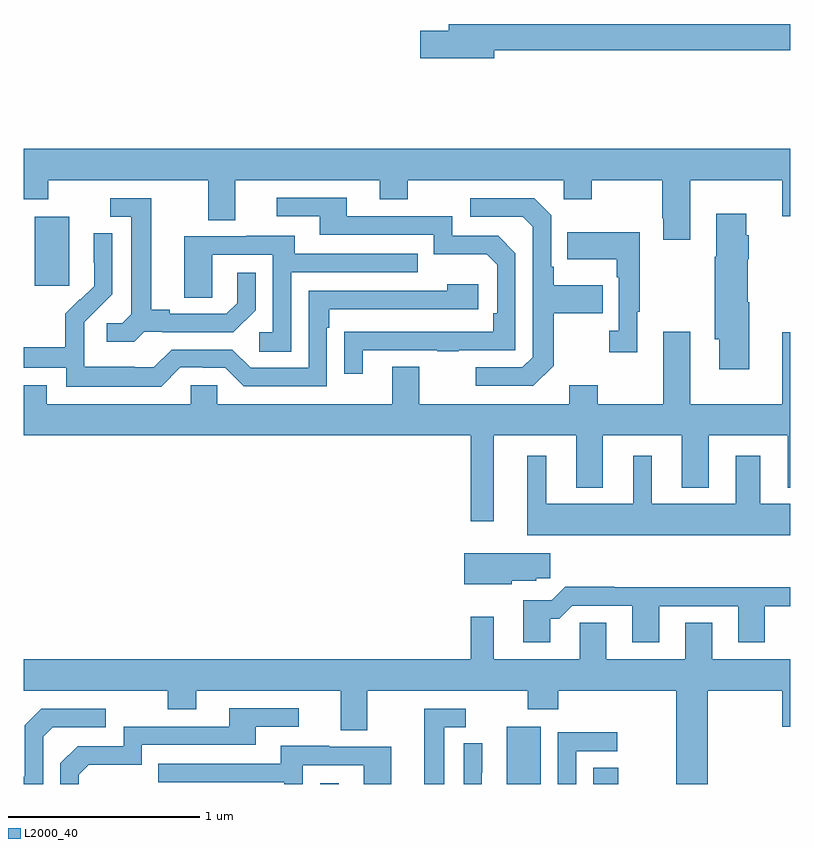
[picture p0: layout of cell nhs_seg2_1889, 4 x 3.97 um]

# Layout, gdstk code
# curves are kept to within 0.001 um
import gdstk
lib = gdstk.Library(unit=1e-6, precision=1e-09)
def R(c, l, rs):  # rectangles x0, y0, x1, y1
    for r in rs: c.add(gdstk.rectangle(r[:2], r[2:], *l))
def P(c, l, *ps):  # polygons
    for p in ps: c.add(gdstk.Polygon(p, *l))
L2000_40 = (2000, 40)

nhs_seg2_1889 = lib.new_cell('nhs_seg2_1889')
R(nhs_seg2_1889, L2000_40, [(210.546,661.8,210.643,661.804), (211.52,661.8,211.699,662.098), (211.973,661.8,212.104,661.886), (209.057,664.401,209.236,664.762)])
P(nhs_seg2_1889, L2000_40, [(211.456,665.632),(213,665.632),(213,665.768),(211.217,665.768),(211.217,665.732),(211.068,665.732),(211.068,665.59),(211.456,665.59)],
  [(209,664.853),(209.127,664.853),(209.127,664.952),(209.963,664.952),(209.963,664.744),(210.103,664.744),(210.103,664.952),(210.857,664.952),(210.857,664.853),(211.005,664.853),(211.005,664.952),(211.818,664.952),(211.818,664.853),(211.965,664.853),(211.965,664.952),(212.332,664.952),(212.332,664.753),(212.339,664.753),(212.339,664.641),(212.479,664.641),(212.479,664.952),(212.96,664.952),(212.96,664.764),(213,664.764),(213,665.116),(209,665.116)],
  [(210.769,664.065),(211.159,664.065),(211.159,664.06),(211.271,664.06),(211.271,664.065),(211.566,664.065),(211.566,664.572),(211.476,664.662),(211.236,664.662),(211.236,664.764),(210.685,664.764),(210.685,664.86),(210.321,664.86),(210.321,664.764),(210.545,664.764),(210.545,664.668),(211.14,664.668),(211.14,664.565),(211.417,664.565),(211.47,664.512),(211.47,664.258),(211.45,664.258),(211.45,664.161),(210.673,664.16),(210.673,663.942),(210.769,663.942)],
  [(209.628,664.161),(209.722,664.161),(209.722,664.158),(210.094,664.158),(210.21,664.274),(210.21,664.468),(210.113,664.468),(210.113,664.311),(210.056,664.254),(209.761,664.254),(209.761,664.277),(209.665,664.277),(209.665,664.857),(209.451,664.857),(209.451,664.761),(209.561,664.761),(209.561,664.253),(209.514,664.206),(209.433,664.206),(209.433,664.109),(209.576,664.109)],
  [(211.765,663.985),(211.765,664.258),(212.021,664.258),(212.021,664.405),(211.765,664.405),(211.765,664.501),(211.752,664.501),(211.752,664.77),(211.665,664.857),(211.329,664.857),(211.329,664.761),(211.605,664.761),(211.656,664.71),(211.656,664.029),(211.602,663.975),(211.359,663.975),(211.359,663.879),(211.659,663.879)],
  [(212.788,664.314),(212.778,664.314),(212.778,664.539),(212.783,664.539),(212.783,664.664),(212.77,664.664),(212.77,664.777),(212.615,664.777),(212.615,664.553),(212.608,664.553),(212.608,664.122),(212.63,664.122),(212.63,663.966),(212.788,663.966)],
  [(212.203,664.265),(212.215,664.265),(212.215,664.681),(211.837,664.681),(211.837,664.541),(212.094,664.541),(212.094,664.445),(212.106,664.445),(212.106,664.166),(212.055,664.166),(212.055,664.053),(212.203,664.053)],
  [(209.817,663.975),(209.933,663.975),(209.933,663.972),(210.051,663.972),(210.147,663.876),(210.582,663.876),(210.582,664.181),(210.595,664.181),(210.595,664.278),(211.372,664.278),(211.372,664.408),(211.211,664.408),(211.211,664.374),(210.486,664.374),(210.486,663.972),(210.183,663.972),(210.087,664.068),(209.772,664.068),(209.679,663.975),(209.579,663.975),(209.579,663.979),(209.316,663.979),(209.316,664.113),(209.314,664.113),(209.314,664.21),(209.46,664.358),(209.46,664.676),(209.364,664.676),(209.364,664.522),(209.366,664.522),(209.366,664.4),(209.295,664.329),(209.292,664.332),(209.215,664.255),(209.215,664.081),(209,664.081),(209,663.972),(209.22,663.972),(209.22,663.875),(209.717,663.875)],
  [(210.396,664.473),(211.055,664.473),(211.055,664.569),(210.415,664.569),(210.415,664.663),(210.161,664.663),(210.161,664.659),(209.837,664.659),(209.837,664.339),(209.982,664.339),(209.982,664.563),(210.3,664.563),(210.3,664.158),(210.228,664.158),(210.228,664.057),(210.396,664.057)],
  [(211.453,663.62),(211.883,663.62),(211.883,663.347),(212.023,663.347),(212.023,663.62),(212.435,663.62),(212.435,663.347),(212.575,663.347),(212.575,663.62),(212.987,663.62),(212.987,663.347),(213,663.347),(213,664.159),(212.96,664.159),(212.96,663.784),(212.479,663.784),(212.479,664.162),(212.339,664.162),(212.339,663.784),(211.995,663.784),(211.995,663.883),(211.847,663.883),(211.847,663.784),(211.063,663.784),(211.063,663.979),(210.923,663.979),(210.923,663.784),(210.009,663.784),(210.009,663.882),(209.871,663.882),(209.871,663.784),(209.119,663.784),(209.119,663.883),(209,663.883),(209,663.62),(211.332,663.62),(211.332,663.171),(211.453,663.171)],
  [(213,663.262),(212.845,663.262),(212.845,663.514),(212.717,663.514),(212.717,663.262),(212.278,663.262),(212.278,663.514),(212.18,663.514),(212.18,663.262),(211.726,663.262),(211.726,663.514),(211.628,663.514),(211.628,663.098),(213,663.098)],
  [(211.548,662.861),(211.674,662.861),(211.674,662.875),(211.747,662.875),(211.747,663.004),(211.298,663.004),(211.298,662.843),(211.548,662.843)],
  [(211.747,662.663),(211.796,662.663),(211.863,662.73),(212.177,662.73),(212.177,662.541),(212.317,662.541),(212.317,662.727),(212.729,662.727),(212.729,662.541),(212.869,662.541),(212.869,662.727),(213,662.727),(213,662.828),(212.081,662.828),(212.081,662.831),(211.826,662.831),(211.755,662.76),(211.607,662.76),(211.607,662.541),(211.747,662.541)],
  [(209,662.288),(209.752,662.288),(209.752,662.189),(209.899,662.189),(209.899,662.288),(210.653,662.288),(210.653,662.08),(210.793,662.08),(210.793,662.288),(211.63,662.288),(211.63,662.189),(211.79,662.189),(211.79,662.288),(212.405,662.288),(212.405,661.8),(212.569,661.8),(212.569,662.288),(212.96,662.288),(212.96,662.1),(213,662.1),(213,662.452),(212.593,662.452),(212.593,662.642),(212.453,662.642),(212.453,662.452),(212.041,662.452),(212.041,662.642),(211.902,662.642),(211.902,662.452),(211.453,662.452),(211.453,662.674),(211.332,662.674),(211.332,662.452),(209,662.452)],
  [(209.286,661.848),(209.339,661.901),(209.616,661.901),(209.616,662.004),(210.211,662.004),(210.211,662.1),(210.436,662.1),(210.436,662.196),(210.071,662.196),(210.071,662.1),(209.52,662.1),(209.52,661.998),(209.28,661.998),(209.19,661.908),(209.19,661.8),(209.286,661.8)],
  [(211.195,662.097),(211.306,662.097),(211.306,662.193),(211.091,662.193),(211.091,661.8),(211.195,661.8)],
  [(209.1,662.046),(209.151,662.097),(209.428,662.097),(209.428,662.193),(209.091,662.193),(209.004,662.106),(209.004,661.837),(209,661.837),(209,661.8),(209.1,661.8)],
  [(211.884,661.971),(212.098,661.971),(212.098,662.07),(211.788,662.07),(211.788,661.8),(211.884,661.8)],
  [(211.391,661.858),(211.392,661.858),(211.392,662.012),(211.296,662.012),(211.296,661.8),(211.391,661.8)],
  [(210.456,661.899),(210.774,661.899),(210.774,661.8),(210.919,661.8),(210.919,661.995),(210.595,661.995),(210.595,661.999),(210.341,661.999),(210.341,661.905),(209.701,661.905),(209.701,661.809),(210.36,661.809),(210.36,661.8),(210.456,661.8)])

lib.write_gds('nhs_seg2_1889.gds')
